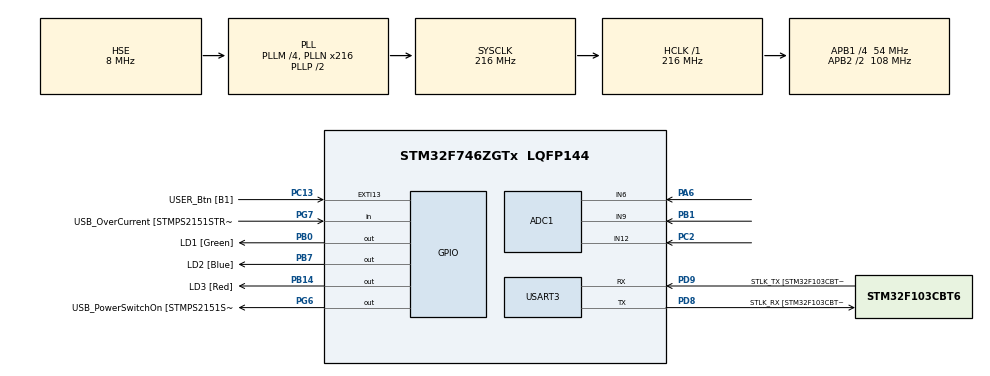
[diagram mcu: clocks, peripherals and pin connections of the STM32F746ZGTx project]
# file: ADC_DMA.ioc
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ADC1.Channel-0\#ChannelRegularConversion=ADC_CHANNEL_9
ADC1.Channel-1\#ChannelRegularConversion=ADC_CHANNEL_6
ADC1.Channel-2\#ChannelRegularConversion=ADC_CHANNEL_12
ADC1.ClockPrescaler=ADC_CLOCK_SYNC_PCLK_DIV8
ADC1.ContinuousConvMode=ENABLE
ADC1.NbrOfConversion=3
ADC1.NbrOfConversionFlag=1
ADC1.Rank-0\#ChannelRegularConversion=1
ADC1.Rank-1\#ChannelRegularConversion=2
ADC1.Rank-2\#ChannelRegularConversion=3
ADC1.SamplingTime-0\#ChannelRegularConversion=ADC_SAMPLETIME_480CYCLES
ADC1.SamplingTime-1\#ChannelRegularConversion=ADC_SAMPLETIME_480CYCLES
ADC1.SamplingTime-2\#ChannelRegularConversion=ADC_SAMPLETIME_480CYCLES
ADC1.ScanConvMode=ADC_SCAN_ENABLE
ADC1.master=1
Dma.ADC1.0.Direction=DMA_PERIPH_TO_MEMORY
Dma.ADC1.0.FIFOMode=DMA_FIFOMODE_DISABLE
Dma.ADC1.0.Instance=DMA2_Stream0
Dma.ADC1.0.MemDataAlignment=DMA_MDATAALIGN_HALFWORD
Dma.ADC1.0.MemInc=DMA_MINC_ENABLE
Dma.ADC1.0.Mode=DMA_CIRCULAR
Dma.ADC1.0.PeriphDataAlignment=DMA_PDATAALIGN_HALFWORD
Dma.ADC1.0.PeriphInc=DMA_PINC_DISABLE
Dma.ADC1.0.Priority=DMA_PRIORITY_LOW
Dma.Request0=ADC1
Mcu.Family=STM32F7
Mcu.Name=STM32F746ZGTx
Mcu.Package=LQFP144
NVIC.DMA2_Stream0_IRQn=true\:0\:0\:false\:false\:true\:false\:true
NVIC.PriorityGroup=NVIC_PRIORITYGROUP_4
PA1.GPIO_Label=RMII_REF_CLK [LAN8742A-CZ-TR_REFCLK0]
PA1.Signal=ETH_REF_CLK
PA10.GPIO_Label=USB_ID
PA10.Signal=USB_OTG_FS_ID
PA11.GPIO_Label=USB_DM
PA11.Signal=USB_OTG_FS_DM
PA12.GPIO_Label=USB_DP
PA12.Signal=USB_OTG_FS_DP
PA13.GPIO_Label=TMS
PA13.Mode=Serial_Wire
PA13.Signal=SYS_JTMS-SWDIO
PA14.GPIO_Label=TCK
PA14.Mode=Serial_Wire
PA14.Signal=SYS_JTCK-SWCLK
PA2.GPIO_Label=RMII_MDIO [LAN8742A-CZ-TR_MDIO]
PA2.Signal=ETH_MDIO
PA6.Signal=ADCx_IN6
PA7.GPIO_Label=RMII_CRS_DV [LAN8742A-CZ-TR_CRS_DV]
PA7.Signal=ETH_CRS_DV
PA8.GPIO_Label=USB_SOF [TP1]
PA8.Signal=USB_OTG_FS_SOF
PA9.GPIO_Label=USB_VBUS
PA9.Signal=USB_OTG_FS_VBUS
PB0.GPIO_Label=LD1 [Green]
PB0.Signal=GPIO_Output
PB1.Signal=ADCx_IN9
PB13.GPIO_Label=RMII_TXD1 [LAN8742A-CZ-TR_TXD1]
PB13.Signal=ETH_TXD1
PB14.GPIO_Label=LD3 [Red]
PB14.Signal=GPIO_Output
PB3.GPIO_Label=SW0
PB3.Signal=SYS_JTDO-SWO
PB7.GPIO_Label=LD2 [Blue]
PB7.Signal=GPIO_Output
PC1.GPIO_Label=RMII_MDC [LAN8742A-CZ-TR_MDC]
PC1.Signal=ETH_MDC
PC13.GPIO_Label=USER_Btn [B1]
PC13.Signal=GPXTI13
PC14/OSC32_IN.Mode=LSE-External-Oscillator
PC14/OSC32_IN.Signal=RCC_OSC32_IN
PC15/OSC32_OUT.Mode=LSE-External-Oscillator
PC15/OSC32_OUT.Signal=RCC_OSC32_OUT
PC2.Signal=ADCx_IN12
PC4.GPIO_Label=RMII_RXD0 [LAN8742A-CZ-TR_RXD0]
PC4.Signal=ETH_RXD0
PC5.GPIO_Label=RMII_RXD1 [LAN8742A-CZ-TR_RXD1]
PC5.Signal=ETH_RXD1
PD8.GPIO_Label=STLK_RX [STM32F103CBT6_PA3]
PD8.Mode=Asynchronous
PD8.Signal=USART3_TX
PD9.GPIO_Label=STLK_TX [STM32F103CBT6_PA2]
PD9.Mode=Asynchronous
PD9.Signal=USART3_RX
PG11.GPIO_Label=RMII_TX_EN [LAN8742A-CZ-TR_TXEN]
PG11.Signal=ETH_TX_EN
PG13.GPIO_Label=RMII_TXD0 [LAN8742A-CZ-TR_TXD0]
PG13.Signal=ETH_TXD0
PG6.GPIO_Label=USB_PowerSwitchOn [STMPS2151STR_EN]
PG6.Signal=GPIO_Output
PG7.GPIO_Label=USB_OverCurrent [STMPS2151STR_FAULT]
PG7.Signal=GPIO_Input
PH0/OSC_IN.GPIO_Label=MCO [STM32F103CBT6_PA8]
PH0/OSC_IN.Mode=HSE-External-Clock-Source
PH0/OSC_IN.Signal=RCC_OSC_IN
PH1/OSC_OUT.Mode=HSE-External-Clock-Source
PH1/OSC_OUT.Signal=RCC_OSC_OUT
ProjectManager.HeapSize=0x200
ProjectManager.StackSize=0x400
ProjectManager.TargetToolchain=MDK-ARM V5.27
RCC.48MHZClocksFreq_Value=24000000
RCC.AHBFreq_Value=216000000
RCC.APB1CLKDivider=RCC_HCLK_DIV4
RCC.APB1Freq_Value=54000000
RCC.APB1TimFreq_Value=108000000
RCC.APB2CLKDivider=RCC_HCLK_DIV2
RCC.APB2Freq_Value=108000000
RCC.APB2TimFreq_Value=216000000
RCC.CortexFreq_Value=216000000
RCC.HCLKFreq_Value=216000000
RCC.HSE_VALUE=8000000
RCC.HSI_VALUE=16000000
RCC.PLLM=4
RCC.PLLMUL=RCC_PLL_MUL9
RCC.PLLN=216
RCC.PLLQ=3
RCC.PLLSourceVirtual=RCC_PLLSOURCE_HSE
RCC.PRESCALERUSB=RCC_USBCLKSOURCE_PLL_DIV1_5
RCC.SYSCLKFreq_VALUE=216000000
RCC.SYSCLKSource=RCC_SYSCLKSOURCE_PLLCLK
RCC.SYSCLKSourceVirtual=RCC_SYSCLKSOURCE_PLLCLK
RCC.USBFreq_Value=144000000
RCC.VCOOutputFreq_Value=432000000
SH.ADCx_IN12.0=ADC1_IN12,IN12
SH.ADCx_IN6.0=ADC1_IN6,IN6
SH.ADCx_IN9.0=ADC1_IN9,IN9
USART3.VirtualMode-Asynchronous=VM_ASYNC
board=NUCLEO-F746ZG

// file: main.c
/* USER CODE BEGIN Header */
/**
  ******************************************************************************
  * @file           : main.c
  * @brief          : Main program body
  ******************************************************************************
  * @attention
  *
  * <h2><center>&copy; Copyright (c) 2020 STMicroelectronics.
  * All rights reserved.</center></h2>
  *
  * This software component is licensed by ST under BSD 3-Clause license,
  * the "License"; You may not use this file except in compliance with the
  * License. You may obtain a copy of the License at:
  *                        opensource.org/licenses/BSD-3-Clause
  *
  ******************************************************************************
  */
/* USER CODE END Header */
#include "main.h"

/* USER CODE BEGIN Includes */
#include "stdio.h"

#define NUMBER_ADC_CHANNEL 3
#define NUMBER_ADC_CHANNEL_AVERAGE_PER_CHANNEL 8

uint16_t ADC_DMA_BUFF[NUMBER_ADC_CHANNEL * NUMBER_ADC_CHANNEL_AVERAGE_PER_CHANNEL]={0};
/* USER CODE END Includes */

/* USER CODE BEGIN PM */
uint16_t ADC_DMA_AVERAGE(int channel)
{
	uint32_t adc_sum;
	int i;

	adc_sum = 0;
	if(channel < NUMBER_ADC_CHANNEL )
	{
		for(i=0; i<NUMBER_ADC_CHANNEL_AVERAGE_PER_CHANNEL; i++)
			adc_sum += ADC_DMA_BUFF[channel+i*NUMBER_ADC_CHANNEL];
	}
	else
		return 1;

	return adc_sum/NUMBER_ADC_CHANNEL_AVERAGE_PER_CHANNEL;
}

/* USER CODE END PM */

ADC_HandleTypeDef hadc1;
DMA_HandleTypeDef hdma_adc1;

UART_HandleTypeDef huart3;

/* USER CODE BEGIN PV */
int fputc(int ch, FILE *f){
	HAL_UART_Transmit(&huart3, (uint8_t *)&ch, 1, 0xFFFF);
  return ch;
}
/* USER CODE END PV */

void SystemClock_Config(void);
static void MX_GPIO_Init(void);
static void MX_DMA_Init(void);
static void MX_ADC1_Init(void);
static void MX_USART3_UART_Init(void);

int main(void)
{

  /* MCU Configuration--------------------------------------------------------*/

  /* Reset of all peripherals, Initializes the Flash interface and the Systick. */
  HAL_Init();

  /* Configure the system clock */
  SystemClock_Config();

  /* Initialize all configured peripherals */
  MX_GPIO_Init();
  MX_DMA_Init();
  MX_ADC1_Init();
  MX_USART3_UART_Init();
  /* USER CODE BEGIN 2 */
	HAL_ADC_Start_DMA(&hadc1, (uint32_t *)ADC_DMA_BUFF, NUMBER_ADC_CHANNEL * NUMBER_ADC_CHANNEL_AVERAGE_PER_CHANNEL);
  /* USER CODE END 2 */

  /* Infinite loop */
  while (1)
  {

    /* USER CODE BEGIN 3 */
		printf("ch0 val = %d \n", ADC_DMA_AVERAGE(0));
		printf("ch1 val = %d \n", ADC_DMA_AVERAGE(1));
		printf("ch2 val = %d \n", ADC_DMA_AVERAGE(2));

		HAL_Delay(1000);
  }
  /* USER CODE END 3 */
}

void SystemClock_Config(void)
{
  RCC_OscInitTypeDef RCC_OscInitStruct = {0};
  RCC_ClkInitTypeDef RCC_ClkInitStruct = {0};
  RCC_PeriphCLKInitTypeDef PeriphClkInitStruct = {0};

  /** Configure LSE Drive Capability
  */
  HAL_PWR_EnableBkUpAccess();
  /** Configure the main internal regulator output voltage
  */
  __HAL_RCC_PWR_CLK_ENABLE();
  __HAL_PWR_VOLTAGESCALING_CONFIG(PWR_REGULATOR_VOLTAGE_SCALE1);
  /** Initializes the RCC Oscillators according to the specified parameters
  * in the RCC_OscInitTypeDef structure.
  */
  RCC_OscInitStruct.OscillatorType = RCC_OSCILLATORTYPE_HSE;
  RCC_OscInitStruct.HSEState = RCC_HSE_BYPASS;
  RCC_OscInitStruct.PLL.PLLState = RCC_PLL_ON;
  RCC_OscInitStruct.PLL.PLLSource = RCC_PLLSOURCE_HSE;
  RCC_OscInitStruct.PLL.PLLM = 4;
  RCC_OscInitStruct.PLL.PLLN = 216;
  RCC_OscInitStruct.PLL.PLLP = RCC_PLLP_DIV2;
  RCC_OscInitStruct.PLL.PLLQ = 3;
  if (HAL_RCC_OscConfig(&RCC_OscInitStruct) != HAL_OK)
  {
    Error_Handler();
  }
  /** Activate the Over-Drive mode
  */
  if (HAL_PWREx_EnableOverDrive() != HAL_OK)
  {
    Error_Handler();
  }
  /** Initializes the CPU, AHB and APB buses clocks
  */
  RCC_ClkInitStruct.ClockType = RCC_CLOCKTYPE_HCLK|RCC_CLOCKTYPE_SYSCLK
                              |RCC_CLOCKTYPE_PCLK1|RCC_CLOCKTYPE_PCLK2;
  RCC_ClkInitStruct.SYSCLKSource = RCC_SYSCLKSOURCE_PLLCLK;
  RCC_ClkInitStruct.AHBCLKDivider = RCC_SYSCLK_DIV1;
  RCC_ClkInitStruct.APB1CLKDivider = RCC_HCLK_DIV4;
  RCC_ClkInitStruct.APB2CLKDivider = RCC_HCLK_DIV2;

  if (HAL_RCC_ClockConfig(&RCC_ClkInitStruct, FLASH_LATENCY_7) != HAL_OK)
  {
    Error_Handler();
  }
  PeriphClkInitStruct.PeriphClockSelection = RCC_PERIPHCLK_USART3;
  PeriphClkInitStruct.Usart3ClockSelection = RCC_USART3CLKSOURCE_PCLK1;
  if (HAL_RCCEx_PeriphCLKConfig(&PeriphClkInitStruct) != HAL_OK)
  {
    Error_Handler();
  }
}

static void MX_ADC1_Init(void)
{

  ADC_ChannelConfTypeDef sConfig = {0};

  /** Configure the global features of the ADC (Clock, Resolution, Data Alignment and number of conversion)
  */
  hadc1.Instance = ADC1;
  hadc1.Init.ClockPrescaler = ADC_CLOCK_SYNC_PCLK_DIV8;
  hadc1.Init.Resolution = ADC_RESOLUTION_12B;
  hadc1.Init.ScanConvMode = ADC_SCAN_ENABLE;
  hadc1.Init.ContinuousConvMode = ENABLE;
  hadc1.Init.DiscontinuousConvMode = DISABLE;
  hadc1.Init.ExternalTrigConvEdge = ADC_EXTERNALTRIGCONVEDGE_NONE;
  hadc1.Init.ExternalTrigConv = ADC_SOFTWARE_START;
  hadc1.Init.DataAlign = ADC_DATAALIGN_RIGHT;
  hadc1.Init.NbrOfConversion = 3;
  hadc1.Init.DMAContinuousRequests = ENABLE;
  hadc1.Init.EOCSelection = ADC_EOC_SINGLE_CONV;
  if (HAL_ADC_Init(&hadc1) != HAL_OK)
  {
    Error_Handler();
  }
  /** Configure for the selected ADC regular channel its corresponding rank in the sequencer and its sample time.
  */
  sConfig.Channel = ADC_CHANNEL_9;
  sConfig.Rank = ADC_REGULAR_RANK_1;
  sConfig.SamplingTime = ADC_SAMPLETIME_480CYCLES;
  if (HAL_ADC_ConfigChannel(&hadc1, &sConfig) != HAL_OK)
  {
    Error_Handler();
  }
  /** Configure for the selected ADC regular channel its corresponding rank in the sequencer and its sample time.
  */
  sConfig.Channel = ADC_CHANNEL_6;
  sConfig.Rank = ADC_REGULAR_RANK_2;
  if (HAL_ADC_ConfigChannel(&hadc1, &sConfig) != HAL_OK)
  {
    Error_Handler();
  }
  /** Configure for the selected ADC regular channel its corresponding rank in the sequencer and its sample time.
  */
  sConfig.Channel = ADC_CHANNEL_12;
  sConfig.Rank = ADC_REGULAR_RANK_3;
  if (HAL_ADC_ConfigChannel(&hadc1, &sConfig) != HAL_OK)
  {
    Error_Handler();
  }

}

static void MX_USART3_UART_Init(void)
{

  huart3.Instance = USART3;
  huart3.Init.BaudRate = 115200;
  huart3.Init.WordLength = UART_WORDLENGTH_8B;
  huart3.Init.StopBits = UART_STOPBITS_1;
  huart3.Init.Parity = UART_PARITY_NONE;
  huart3.Init.Mode = UART_MODE_TX_RX;
  huart3.Init.HwFlowCtl = UART_HWCONTROL_NONE;
  huart3.Init.OverSampling = UART_OVERSAMPLING_16;
  huart3.Init.OneBitSampling = UART_ONE_BIT_SAMPLE_DISABLE;
  huart3.AdvancedInit.AdvFeatureInit = UART_ADVFEATURE_NO_INIT;
  if (HAL_UART_Init(&huart3) != HAL_OK)
  {
    Error_Handler();
  }

}

static void MX_DMA_Init(void)
{

  /* DMA controller clock enable */
  __HAL_RCC_DMA2_CLK_ENABLE();

  /* DMA interrupt init */
  /* DMA2_Stream0_IRQn interrupt configuration */
  HAL_NVIC_SetPriority(DMA2_Stream0_IRQn, 0, 0);
  HAL_NVIC_EnableIRQ(DMA2_Stream0_IRQn);

}

static void MX_GPIO_Init(void)
{
  GPIO_InitTypeDef GPIO_InitStruct = {0};

  /* GPIO Ports Clock Enable */
  __HAL_RCC_GPIOC_CLK_ENABLE();
  __HAL_RCC_GPIOH_CLK_ENABLE();
  __HAL_RCC_GPIOA_CLK_ENABLE();
  __HAL_RCC_GPIOB_CLK_ENABLE();
  __HAL_RCC_GPIOD_CLK_ENABLE();
  __HAL_RCC_GPIOG_CLK_ENABLE();

  /*Configure GPIO pin Output Level */
  HAL_GPIO_WritePin(GPIOB, LD1_Pin|LD3_Pin|LD2_Pin, GPIO_PIN_RESET);

  /*Configure GPIO pin Output Level */
  HAL_GPIO_WritePin(USB_PowerSwitchOn_GPIO_Port, USB_PowerSwitchOn_Pin, GPIO_PIN_RESET);

  /*Configure GPIO pin : USER_Btn_Pin */
  GPIO_InitStruct.Pin = USER_Btn_Pin;
  GPIO_InitStruct.Mode = GPIO_MODE_IT_RISING;
  GPIO_InitStruct.Pull = GPIO_NOPULL;
  HAL_GPIO_Init(USER_Btn_GPIO_Port, &GPIO_InitStruct);

  /*Configure GPIO pins : RMII_MDC_Pin RMII_RXD0_Pin RMII_RXD1_Pin */
  GPIO_InitStruct.Pin = RMII_MDC_Pin|RMII_RXD0_Pin|RMII_RXD1_Pin;
  GPIO_InitStruct.Mode = GPIO_MODE_AF_PP;
  GPIO_InitStruct.Pull = GPIO_NOPULL;
  GPIO_InitStruct.Speed = GPIO_SPEED_FREQ_VERY_HIGH;
  GPIO_InitStruct.Alternate = GPIO_AF11_ETH;
  HAL_GPIO_Init(GPIOC, &GPIO_InitStruct);

  /*Configure GPIO pins : RMII_REF_CLK_Pin RMII_MDIO_Pin RMII_CRS_DV_Pin */
  GPIO_InitStruct.Pin = RMII_REF_CLK_Pin|RMII_MDIO_Pin|RMII_CRS_DV_Pin;
  GPIO_InitStruct.Mode = GPIO_MODE_AF_PP;
  GPIO_InitStruct.Pull = GPIO_NOPULL;
  GPIO_InitStruct.Speed = GPIO_SPEED_FREQ_VERY_HIGH;
  GPIO_InitStruct.Alternate = GPIO_AF11_ETH;
  HAL_GPIO_Init(GPIOA, &GPIO_InitStruct);

  /*Configure GPIO pins : LD1_Pin LD3_Pin LD2_Pin */
  GPIO_InitStruct.Pin = LD1_Pin|LD3_Pin|LD2_Pin;
  GPIO_InitStruct.Mode = GPIO_MODE_OUTPUT_PP;
  GPIO_InitStruct.Pull = GPIO_NOPULL;
  GPIO_InitStruct.Speed = GPIO_SPEED_FREQ_LOW;
  HAL_GPIO_Init(GPIOB, &GPIO_InitStruct);

  /*Configure GPIO pin : RMII_TXD1_Pin */
  GPIO_InitStruct.Pin = RMII_TXD1_Pin;
  GPIO_InitStruct.Mode = GPIO_MODE_AF_PP;
  GPIO_InitStruct.Pull = GPIO_NOPULL;
  GPIO_InitStruct.Speed = GPIO_SPEED_FREQ_VERY_HIGH;
  GPIO_InitStruct.Alternate = GPIO_AF11_ETH;
  HAL_GPIO_Init(RMII_TXD1_GPIO_Port, &GPIO_InitStruct);

  /*Configure GPIO pin : USB_PowerSwitchOn_Pin */
  GPIO_InitStruct.Pin = USB_PowerSwitchOn_Pin;
  GPIO_InitStruct.Mode = GPIO_MODE_OUTPUT_PP;
  GPIO_InitStruct.Pull = GPIO_NOPULL;
  GPIO_InitStruct.Speed = GPIO_SPEED_FREQ_LOW;
  HAL_GPIO_Init(USB_PowerSwitchOn_GPIO_Port, &GPIO_InitStruct);

  /*Configure GPIO pin : USB_OverCurrent_Pin */
  GPIO_InitStruct.Pin = USB_OverCurrent_Pin;
  GPIO_InitStruct.Mode = GPIO_MODE_INPUT;
  GPIO_InitStruct.Pull = GPIO_NOPULL;
  HAL_GPIO_Init(USB_OverCurrent_GPIO_Port, &GPIO_InitStruct);

  /*Configure GPIO pins : USB_SOF_Pin USB_ID_Pin USB_DM_Pin USB_DP_Pin */
  GPIO_InitStruct.Pin = USB_SOF_Pin|USB_ID_Pin|USB_DM_Pin|USB_DP_Pin;
  GPIO_InitStruct.Mode = GPIO_MODE_AF_PP;
  GPIO_InitStruct.Pull = GPIO_NOPULL;
  GPIO_InitStruct.Speed = GPIO_SPEED_FREQ_VERY_HIGH;
  GPIO_InitStruct.Alternate = GPIO_AF10_OTG_FS;
  HAL_GPIO_Init(GPIOA, &GPIO_InitStruct);

  /*Configure GPIO pin : USB_VBUS_Pin */
  GPIO_InitStruct.Pin = USB_VBUS_Pin;
  GPIO_InitStruct.Mode = GPIO_MODE_INPUT;
  GPIO_InitStruct.Pull = GPIO_NOPULL;
  HAL_GPIO_Init(USB_VBUS_GPIO_Port, &GPIO_InitStruct);

  /*Configure GPIO pins : RMII_TX_EN_Pin RMII_TXD0_Pin */
  GPIO_InitStruct.Pin = RMII_TX_EN_Pin|RMII_TXD0_Pin;
  GPIO_InitStruct.Mode = GPIO_MODE_AF_PP;
  GPIO_InitStruct.Pull = GPIO_NOPULL;
  GPIO_InitStruct.Speed = GPIO_SPEED_FREQ_VERY_HIGH;
  GPIO_InitStruct.Alternate = GPIO_AF11_ETH;
  HAL_GPIO_Init(GPIOG, &GPIO_InitStruct);

}

void Error_Handler(void)
{
}

/************************ (C) COPYRIGHT STMicroelectronics *****END OF FILE****/
